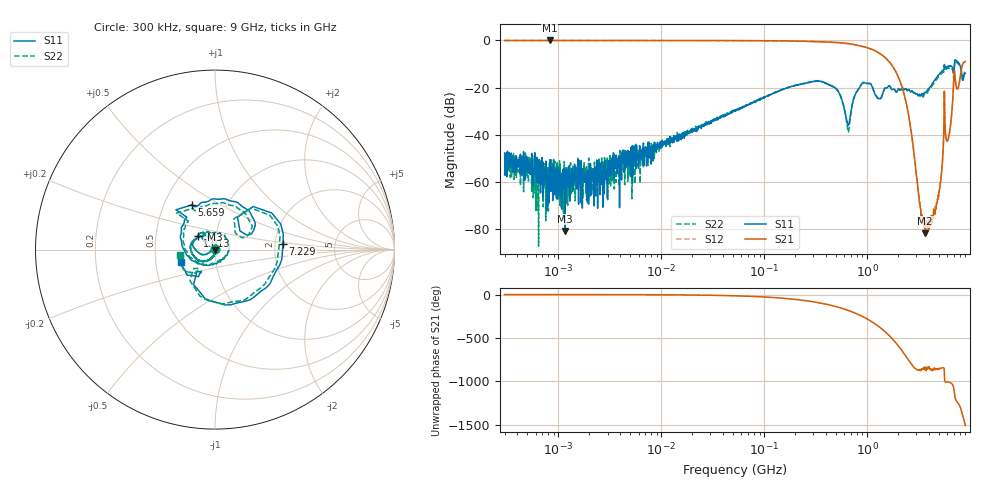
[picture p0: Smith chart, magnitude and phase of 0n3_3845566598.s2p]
!Keysight Technologies,E5080A,MY55100160,A.12.60.03
!Date: Tuesday, October 26, 2021 18:19:33
!Correction: S11(Full 4 Port(1,2,3,4))
!S21(Full 4 Port(1,2,3,4))
!S12(Full 4 Port(1,2,3,4))
!S22(Full 4 Port(1,2,3,4))
!S2P File: Measurements: S11, S21, S12, S22:Log Frequency Sweep
# Hz S  dB  R 50
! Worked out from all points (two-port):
!   1601 points, 300 kHz to 9 GHz, reference 50 ohm
!   highest |S21| = 0.00 dB at 825 kHz (marker M1); lowest = -81.7 dB at 3.652 GHz (marker M2)
!   |S21| within 3 dB of the highest: start of sweep to 989.8 MHz
!   lowest |S11| = -80.7 dB at 1.161 MHz (marker M3), VSWR 1.00, Z = 50 + j0.00446 ohm
!   |S11| at or under -10 dB: start of sweep to 7.044 GHz; 7.889 GHz to end of sweep
!   |S22| runs from -87.1 to -8.5 dB; largest |S21 - S12| = 0.0064
!   S11 on the Smith chart (normalised r, x): 300 kHz: 1.00, +0.00; 1.013 GHz: 0.82, +0.12; 5.659 GHz: 0.69, +0.37; 7.229 GHz: 2.21, +0.17; 9 GHz: 0.68, -0.10
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300000  -56.84 72.9  -0.01 -0.2  -0.01 -0.2  -47.32 87.6
824971.2  -57.76 92.5  0.00 -0.3  0.00 -0.3  -60.52 68.6
1160763  -80.65 151.3  -0.01 -0.4  -0.01 -0.3  -58.48 77.1
1675872  -56.71 -159.9  -0.01 -0.5  -0.02 -0.5  -53.81 -94.8
9361824  -45.39 -72.9  -0.02 -2.7  -0.01 -2.7  -44.56 -76.8
5.22974e7  -29.89 -101.7  -0.05 -14.8  -0.03 -14.9  -29.41 -104.9
1.466197e8  -20.95 -132.5  -0.17 -41.4  -0.15 -41.4  -20.80 -133.0
2.902696e8  -17.51 -176.7  -0.42 -81.1  -0.40 -81.2  -17.49 -176.5
5.019362e8  -20.51 123.0  -0.84 -140.0  -0.82 -140.0  -20.68 122.0
6.289058e8  -33.20 125.0  -1.22 -176.0  -1.22 -176.1  -33.89 111.2
1.0131e9  -18.31 142.4  -3.14 74.4  -3.12 74.2  -18.16 141.0
1.261221e9  -24.13 118.8  -4.92 1.0  -4.91 0.9  -24.45 116.3
1.621515e9  -19.24 113.8  -8.83 -108.6  -8.82 -108.9  -19.33 114.6
2.371455e9  -20.31 55.8  -25.66 9.3  -25.56 9.0  -20.53 53.2
3.293997e9  -23.30 -51.6  -71.12 -158.3  -69.82 -146.6  -23.76 -48.1
3.651694e9  -22.14 -85.7  -81.75 -145.0  -79.06 -110.6  -22.80 -82.5
4.755768e9  -15.60 -174.1  -68.78 -136.3  -68.93 -139.6  -16.34 -170.1
5.659422e9  -11.03 117.1  -29.74 84.4  -29.70 83.6  -11.68 118.1
6.233688e9  -10.81 77.9  -40.34 67.9  -40.30 67.6  -11.57 78.3
7.229424e9  -8.40 5.1  -18.07 -129.8  -18.04 -130.1  -8.92 3.1
8.223708e9  -12.79 -121.6  -12.37 100.1  -12.35 98.9  -13.09 -128.8
9e9  -13.93 -159.1  -8.93 -70.9  -8.89 -71.3  -14.15 -170.9
